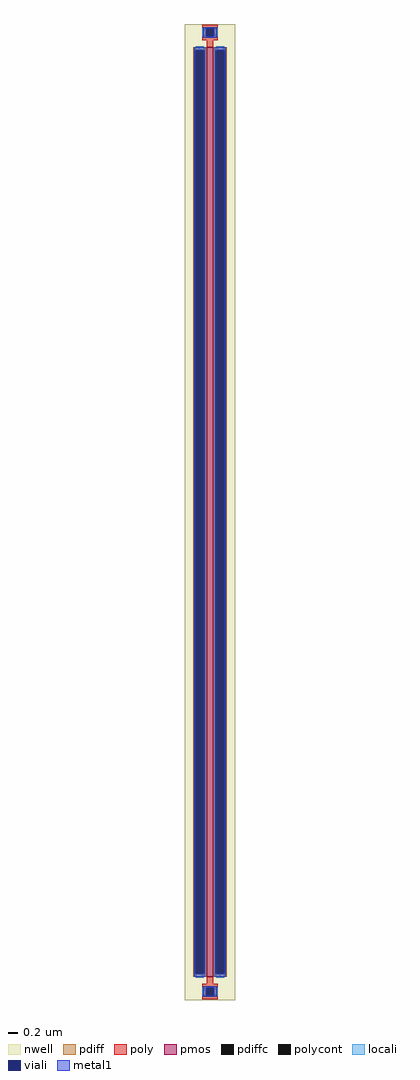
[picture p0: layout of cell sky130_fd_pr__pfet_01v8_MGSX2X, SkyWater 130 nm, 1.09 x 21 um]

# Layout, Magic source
magic
tech sky130A
magscale 1 2
<< nwell >>
rect -109 -2100 109 2100
<< pmos >>
rect -15 -2000 15 2000
<< pdiff >>
rect -73 1988 -15 2000
rect -73 -1988 -61 1988
rect -27 -1988 -15 1988
rect -73 -2000 -15 -1988
rect 15 1988 73 2000
rect 15 -1988 27 1988
rect 61 -1988 73 1988
rect 15 -2000 73 -1988
<< pdiffc >>
rect -61 -1988 -27 1988
rect 27 -1988 61 1988
<< poly >>
rect -33 2081 33 2097
rect -33 2047 -17 2081
rect 17 2047 33 2081
rect -33 2031 33 2047
rect -15 2000 15 2031
rect -15 -2031 15 -2000
rect -33 -2047 33 -2031
rect -33 -2081 -17 -2047
rect 17 -2081 33 -2047
rect -33 -2097 33 -2081
<< polycont >>
rect -17 2047 17 2081
rect -17 -2081 17 -2047
<< locali >>
rect -33 2047 -17 2081
rect 17 2047 33 2081
rect -61 1988 -27 2004
rect -61 -2004 -27 -1988
rect 27 1988 61 2004
rect 27 -2004 61 -1988
rect -33 -2081 -17 -2047
rect 17 -2081 33 -2047
<< viali >>
rect -17 2047 17 2081
rect -61 -1988 -27 1988
rect 27 -1988 61 1988
rect -17 -2081 17 -2047
<< metal1 >>
rect -29 2081 29 2087
rect -29 2047 -17 2081
rect 17 2047 29 2081
rect -29 2041 29 2047
rect -67 1988 -21 2000
rect -67 -1988 -61 1988
rect -27 -1988 -21 1988
rect -67 -2000 -21 -1988
rect 21 1988 67 2000
rect 21 -1988 27 1988
rect 61 -1988 67 1988
rect 21 -2000 67 -1988
rect -29 -2047 29 -2041
rect -29 -2081 -17 -2047
rect 17 -2081 29 -2047
rect -29 -2087 29 -2081
<< properties >>
string gencell sky130_fd_pr__pfet_01v8
string library sky130
string parameters w 20.0 l 0.15 m 1 nf 1 diffcov 100 polycov 100 guard 0 glc 1 grc 1 gtc 1 gbc 1 tbcov 100 rlcov 100 topc 1 botc 1 poverlap 0 doverlap 1 lmin 0.15 wmin 0.42 compatible {sky130_fd_pr__pfet_01v8  sky130_fd_pr__pfet_01v8_lvt sky130_fd_pr__pfet_01v8_hvt  sky130_fd_pr__pfet_g5v0d10v5} full_metal 1 viasrc 100 viadrn 100 viagate 100 viagb 0 viagr 0 viagl 0 viagt 0
<< end >>
